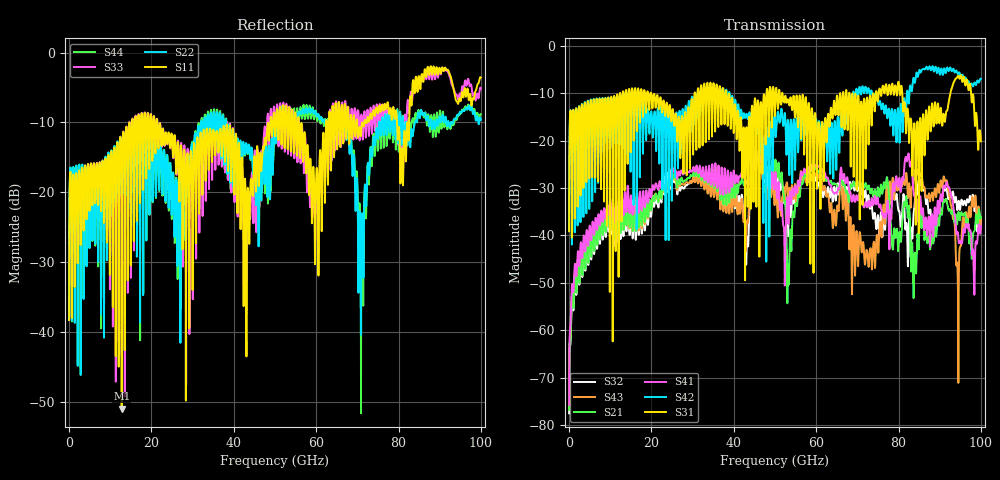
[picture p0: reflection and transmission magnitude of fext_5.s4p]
# Hz S RI R 50
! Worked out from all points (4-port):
!   10000 points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, 10 MHz to 100 GHz, reference 50 ohm
!   strongest paths, dB at 10 MHz, 25.01 GHz, 50.01 GHz, 75.01 GHz, 100 GHz:
!     S31: -39.1, -14.2, -13.9, -11.7, -20.1
!     S42: -39.1, -23.6, -16.0, -11.7, -6.9
!     S41: -75.7, -25.6, -27.8, -32.7, -38.0
!     S21: -76.8, -26.9, -25.0, -29.8, -36.1
!     S43: -76.8, -27.4, -31.4, -43.3, -36.1
!     S32: -77.5, -27.9, -25.8, -35.7, -36.3
!   lowest |S11| = -51.0 dB at 12.78 GHz (marker M1), VSWR 1.01, Z = 50 + j0.281 ohm
!   |S11| at or under -10 dB: start of sweep to 14.63 GHz; 21.42 GHz to 48.86 GHz (27.44 GHz wide, 78.1 % of centre); 55.79 GHz to 62.43 GHz (6.635 GHz wide, 11.2 % of centre)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
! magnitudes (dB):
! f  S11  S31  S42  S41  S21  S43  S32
! 10 MHz  -38.3  -39.1  -39.1  -75.7  -76.8  -76.8  -77.5
! 2.49 GHz  -16.9  -13.1  -13.0  -46.4  -50.0  -48.0  -50.4
! 12.78 GHz  -51.0  -26.3  -19.2  -31.8  -33.5  -33.6  -34.5
! 64.83 GHz  -7.9  -13.4  -25.1  -31.1  -29.2  -37.8  -32.4
! 71.14 GHz  -10.0  -15.4  -8.8  -33.2  -29.4  -43.3  -30.2
! 75.67 GHz  -8.5  -10.1  -12.3  -33.9  -29.4  -37.5  -35.4
! 100 GHz  -3.5  -20.1  -6.9  -38.0  -36.1  -36.1  -36.3
